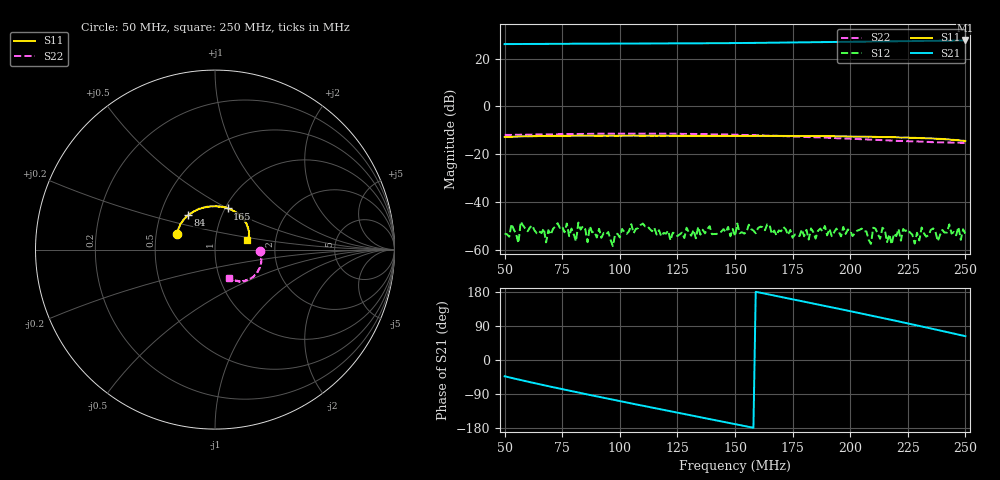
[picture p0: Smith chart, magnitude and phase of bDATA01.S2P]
! Network Analyzer HP8753D.06.12 Serial No. 3410A09394
! 12 Jun 2019  09:34:04
# HZ  S  DB R 50
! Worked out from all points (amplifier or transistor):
!   201 points, 50 MHz to 250 MHz, reference 50 ohm
!   highest |S21| = 27.6 dB at 250 MHz (marker M1)
!   |S21| within 3 dB of that: start of sweep to end of sweep
!   unconditionally stable (mu >= 1): start of sweep to end of sweep
!   at 83 MHz: K = 8.16, MAG = 26.8 dB, |S12| = -51.6 dB
!   at 150 MHz: K = 11.00, MAG = 27.1 dB, |S12| = -54.4 dB
!   at 250 MHz: K = 9.17, MAG = 27.9 dB, |S12| = -53.5 dB
!   S11 on the Smith chart (normalised r, x): 50 MHz: 0.64, +0.12; 84 MHz: 0.69, +0.28; 165 MHz: 1.03, +0.50; 250 MHz: 1.43, +0.16
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5e7  -12.82 157.5  26.10 -42.9  -53.32 133.5  -11.96 -1.4
5.6e7  -12.62 151.6  26.14 -51.6  -57.31 135.4  -11.92 -3.4
5.7e7  -12.63 150.7  26.14 -52.9  -48.31 132.8  -11.88 -3.3
6.5e7  -12.41 143.4  26.19 -63.8  -52.34 128.1  -11.76 -6.1
7.4e7  -12.37 136.1  26.23 -75.7  -50.93 107.5  -11.66 -9.4
8.1e7  -12.33 129.8  26.27 -84.7  -56.56 112.3  -11.56 -11.7
8.4e7  -12.27 127.8  26.28 -88.4  -50.23 102.3  -11.53 -13.0
9.7e7  -12.28 118.2  26.31 -104.8  -58.59 69.9  -11.43 -18.2
1.01e8  -12.31 115.2  26.31 -109.7  -51.38 68.9  -11.41 -19.4
1.17e8  -12.28 103.9  26.39 -129.2  -51.87 61.6  -11.44 -25.9
1.34e8  -12.34 92.6  26.45 -149.8  -50.48 37.7  -11.59 -32.9
1.5e8  -12.33 82.4  26.53 -169.2  -54.42 39.5  -11.88 -39.1
1.65e8  -12.41 73.0  26.69 172.7  -49.67 4.3  -12.27 -44.8
1.75e8  -12.43 66.7  26.80 160.3  -55.05 5.3  -12.56 -48.4
1.84e8  -12.43 60.8  26.88 149.2  -52.73 -17.4  -12.90 -51.9
1.99e8  -12.63 51.3  27.07 130.1  -51.59 -19.2  -13.46 -55.6
2.06e8  -12.71 46.8  27.14 121.2  -52.46 -29.5  -13.87 -56.9
2.17e8  -12.83 39.7  27.26 107.0  -53.62 -28.8  -14.26 -59.4
2.25e8  -13.03 34.4  27.36 96.5  -51.68 -61.1  -14.56 -60.5
2.33e8  -13.32 28.6  27.45 85.9  -54.58 -75.4  -14.89 -62.1
2.41e8  -13.74 22.8  27.53 75.1  -52.93 -59.7  -15.11 -63.0
2.5e8  -14.52 17.0  27.63 62.8  -53.48 -86.8  -15.25 -64.1
